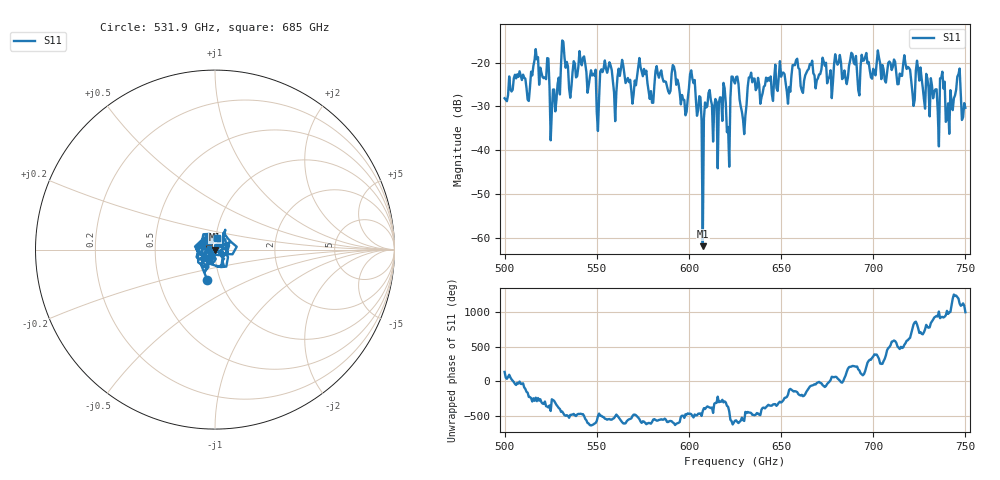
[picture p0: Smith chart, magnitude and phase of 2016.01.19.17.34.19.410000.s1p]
!Created with skrf (http://scikit-rf.org).
# GHz S RI R 50.0
!freq ReS11 ImS11
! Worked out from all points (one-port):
!   401 points, 500 GHz to 750 GHz, reference 50 ohm
!   lowest |S11| = -61.9 dB at 607.5 GHz (marker M1), VSWR 1.00, Z = 50 - j0.077 ohm
!   |S11| at or under -10 dB: start of sweep to end of sweep
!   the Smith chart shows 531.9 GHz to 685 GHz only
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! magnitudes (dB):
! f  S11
! 500 GHz  -28.1
! 513.1 GHz  -28.8
! 516.9 GHz  -16.9
! 526.2 GHz  -26.2
! 531.2 GHz  -15.0
! 535.6 GHz  -28.0
! 541.9 GHz  -20.6
! 550 GHz  -31.3
! 553.1 GHz  -22.2
! 560 GHz  -33.4
! 562.5 GHz  -23.0
! 593.8 GHz  -23.9
! 598.1 GHz  -32.0
! 601.9 GHz  -23.7
! 607.5 GHz  -61.9
! 610 GHz  -29.9
! 621.2 GHz  -34.7
! 625 GHz  -24.8
! 629.4 GHz  -33.1
! 633.8 GHz  -22.3
! 656.2 GHz  -20.6
! 687.5 GHz  -19.5
! 718.8 GHz  -21.0
! 734.4 GHz  -26.1
! 737.5 GHz  -22.1
! 740.6 GHz  -29.3
! 746.2 GHz  -22.7
! 750 GHz  -30.3
